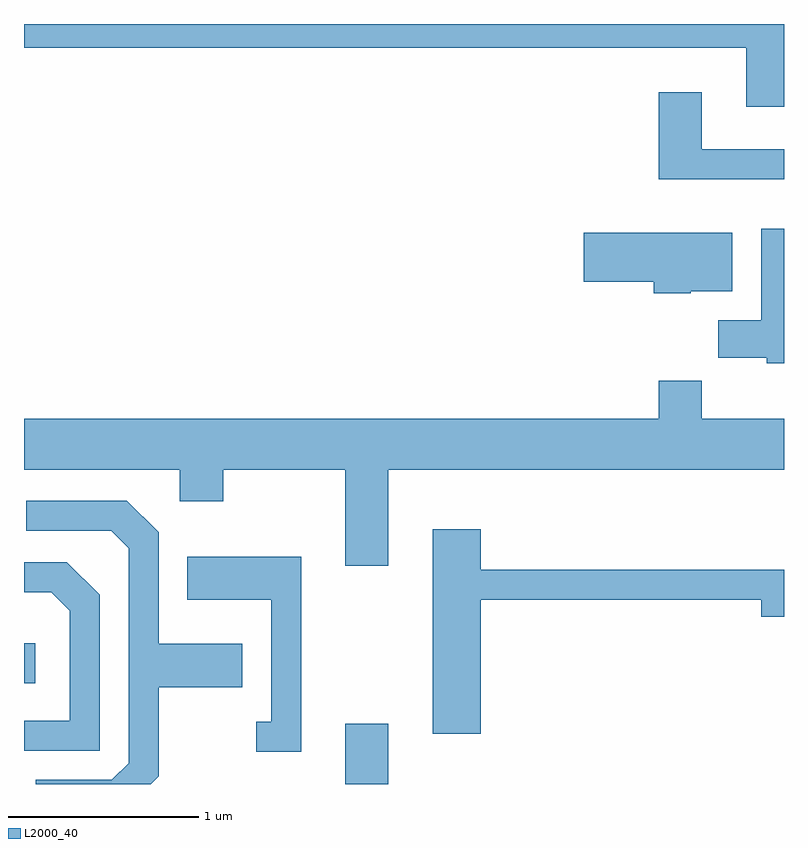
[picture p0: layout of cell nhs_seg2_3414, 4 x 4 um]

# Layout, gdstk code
import gdstk
lib = gdstk.Library(unit=1e-6, precision=1e-09)
def R(c, l, rs):  # rectangles x0, y0, x1, y1
    for r in rs: c.add(gdstk.rectangle(r[:2], r[2:], *l))
def P(c, l, *ps):  # polygons
    for p in ps: c.add(gdstk.Polygon(p, *l))
L2000_40 = (2000, 40)

nhs_seg2_3414 = lib.new_cell('nhs_seg2_3414')
R(nhs_seg2_3414, L2000_40, [(287.301,1017.802,287.529,1018.119), (285.611,1018.331,285.669,1018.544)])
P(nhs_seg2_3414, L2000_40, [(289.611,1021.802),(285.611,1021.802),(285.611,1021.676),(289.411,1021.676),(289.411,1021.366),(289.611,1021.366)],
  [(289.611,1021.144),(289.179,1021.144),(289.179,1021.444),(288.951,1021.444),(288.951,1020.986),(289.611,1020.986)],
  [(289.611,1020.724),(289.491,1020.724),(289.491,1020.244),(289.266,1020.244),(289.266,1020.046),(289.521,1020.046),(289.521,1020.016),(289.611,1020.016)],
  [(289.12,1020.396),(289.339,1020.396),(289.339,1020.704),(288.556,1020.704),(288.556,1020.446),(288.926,1020.446),(288.926,1020.386),(289.12,1020.386)],
  [(287.529,1019.456),(289.611,1019.456),(289.611,1019.724),(289.179,1019.724),(289.179,1019.924),(288.951,1019.924),(288.951,1019.724),(285.611,1019.724),(285.611,1019.456),(286.431,1019.456),(286.431,1019.291),(286.659,1019.291),(286.659,1019.456),(287.301,1019.456),(287.301,1018.951),(287.529,1018.951)],
  [(286.319,1017.844),(286.319,1018.311),(286.759,1018.311),(286.759,1018.539),(286.319,1018.539),(286.319,1019.127),(286.152,1019.294),(285.623,1019.294),(285.623,1019.136),(286.069,1019.136),(286.161,1019.044),(286.161,1017.912),(286.074,1017.824),(285.673,1017.824),(285.673,1017.802),(286.277,1017.802)],
  [(288.014,1018.771),(289.491,1018.771),(289.491,1018.681),(289.611,1018.681),(289.611,1018.929),(288.014,1018.929),(288.014,1019.144),(287.761,1019.144),(287.761,1018.066),(288.014,1018.066)],
  [(287.069,1018.999),(286.471,1018.999),(286.471,1018.771),(286.911,1018.771),(286.911,1018.129),(286.833,1018.129),(286.833,1017.971),(287.069,1017.971)],
  [(286.009,1018.797),(285.837,1018.969),(285.611,1018.969),(285.611,1018.811),(285.754,1018.811),(285.851,1018.714),(285.851,1018.134),(285.611,1018.134),(285.611,1017.976),(286.009,1017.976)])

lib.write_gds('nhs_seg2_3414.gds')
